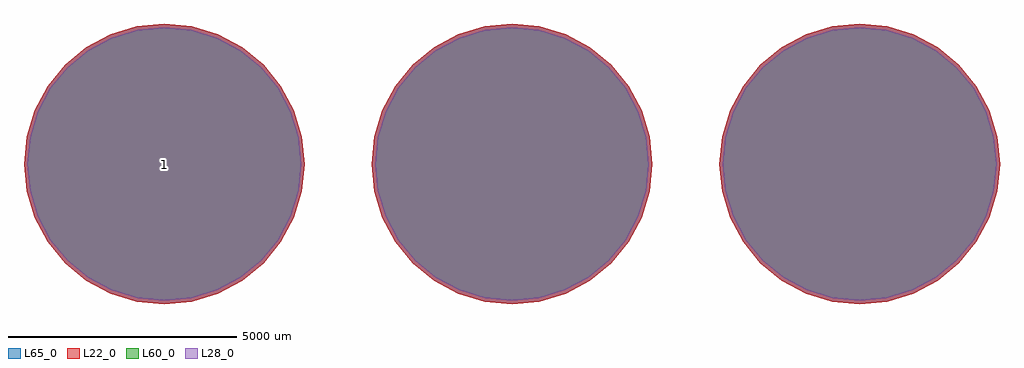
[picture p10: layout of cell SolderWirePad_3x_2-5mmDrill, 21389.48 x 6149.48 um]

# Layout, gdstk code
import gdstk
lib = gdstk.Library(unit=1e-6, precision=1e-09)
def P(c, l, *ps):  # polygons
    for p in ps: c.add(gdstk.Polygon(p, *l))
L22_0 = (22, 0)
L28_0 = (28, 0)
L60_0 = (60, 0)
L65_0 = (65, 0)

solderwirepad_3x_2_5mmdr = lib.new_cell('SolderWirePad_3x_2-5mmDrill')
P(solderwirepad_3x_2_5mmdr, L22_0, [(10694.74,0),(10635.66,599.852),(10460.689,1176.652),(10176.553,1708.234),(9794.17,2174.17),(9328.234,2556.553),(8796.652,2840.689),(8219.852,3015.66),(7620,3074.74),(7020.148,3015.66),(6443.348,2840.689),(5911.766,2556.553),(5445.83,2174.17),(5063.447,1708.234),(4779.311,1176.652),(4604.34,599.852),(4545.26,0),(4604.34,-599.852),(4779.311,-1176.652),(5063.447,-1708.234),(5445.83,-2174.17),(5911.766,-2556.553),(6443.348,-2840.689),(7020.148,-3015.66),(7620,-3074.74),(8219.852,-3015.66),(8796.652,-2840.689),(9328.234,-2556.553),(9794.17,-2174.17),(10176.553,-1708.234),(10460.689,-1176.652),(10635.66,-599.852)],
  [(3074.74,0),(3015.66,599.852),(2840.689,1176.652),(2556.553,1708.234),(2174.17,2174.17),(1708.234,2556.553),(1176.652,2840.689),(599.852,3015.66),(0,3074.74),(-599.852,3015.66),(-1176.652,2840.689),(-1708.234,2556.553),(-2174.17,2174.17),(-2556.553,1708.234),(-2840.689,1176.652),(-3015.66,599.852),(-3074.74,0),(-3015.66,-599.852),(-2840.689,-1176.652),(-2556.553,-1708.234),(-2174.17,-2174.17),(-1708.234,-2556.553),(-1176.652,-2840.689),(-599.852,-3015.66),(0,-3074.74),(599.852,-3015.66),(1176.652,-2840.689),(1708.234,-2556.553),(2174.17,-2174.17),(2556.553,-1708.234),(2840.689,-1176.652),(3015.66,-599.852)],
  [(-4545.26,0),(-4604.34,599.852),(-4779.311,1176.652),(-5063.447,1708.234),(-5445.83,2174.17),(-5911.766,2556.553),(-6443.348,2840.689),(-7020.148,3015.66),(-7620,3074.74),(-8219.852,3015.66),(-8796.652,2840.689),(-9328.234,2556.553),(-9794.17,2174.17),(-10176.553,1708.234),(-10460.689,1176.652),(-10635.66,599.852),(-10694.74,0),(-10635.66,-599.852),(-10460.689,-1176.652),(-10176.553,-1708.234),(-9794.17,-2174.17),(-9328.234,-2556.553),(-8796.652,-2840.689),(-8219.852,-3015.66),(-7620,-3074.74),(-7020.148,-3015.66),(-6443.348,-2840.689),(-5911.766,-2556.553),(-5445.83,-2174.17),(-5063.447,-1708.234),(-4779.311,-1176.652),(-4604.34,-599.852)])
P(solderwirepad_3x_2_5mmdr, L28_0, [(10619.74,0),(10562.101,585.22),(10391.398,1147.951),(10114.193,1666.566),(9741.136,2121.136),(9286.566,2494.193),(8767.951,2771.398),(8205.22,2942.101),(7620,2999.74),(7034.78,2942.101),(6472.049,2771.398),(5953.434,2494.193),(5498.864,2121.136),(5125.807,1666.566),(4848.602,1147.951),(4677.899,585.22),(4620.26,0),(4677.899,-585.22),(4848.602,-1147.951),(5125.807,-1666.566),(5498.864,-2121.136),(5953.434,-2494.193),(6472.049,-2771.398),(7034.78,-2942.101),(7620,-2999.74),(8205.22,-2942.101),(8767.951,-2771.398),(9286.566,-2494.193),(9741.136,-2121.136),(10114.193,-1666.566),(10391.398,-1147.951),(10562.101,-585.22)],
  [(2999.74,0),(2942.101,585.22),(2771.398,1147.951),(2494.193,1666.566),(2121.136,2121.136),(1666.566,2494.193),(1147.951,2771.398),(585.22,2942.101),(0,2999.74),(-585.22,2942.101),(-1147.951,2771.398),(-1666.566,2494.193),(-2121.136,2121.136),(-2494.193,1666.566),(-2771.398,1147.951),(-2942.101,585.22),(-2999.74,0),(-2942.101,-585.22),(-2771.398,-1147.951),(-2494.193,-1666.566),(-2121.136,-2121.136),(-1666.566,-2494.193),(-1147.951,-2771.398),(-585.22,-2942.101),(0,-2999.74),(585.22,-2942.101),(1147.951,-2771.398),(1666.566,-2494.193),(2121.136,-2121.136),(2494.193,-1666.566),(2771.398,-1147.951),(2942.101,-585.22)],
  [(-4620.26,0),(-4677.899,585.22),(-4848.602,1147.951),(-5125.807,1666.566),(-5498.864,2121.136),(-5953.434,2494.193),(-6472.049,2771.398),(-7034.78,2942.101),(-7620,2999.74),(-8205.22,2942.101),(-8767.951,2771.398),(-9286.566,2494.193),(-9741.136,2121.136),(-10114.193,1666.566),(-10391.398,1147.951),(-10562.101,585.22),(-10619.74,0),(-10562.101,-585.22),(-10391.398,-1147.951),(-10114.193,-1666.566),(-9741.136,-2121.136),(-9286.566,-2494.193),(-8767.951,-2771.398),(-8205.22,-2942.101),(-7620,-2999.74),(-7034.78,-2942.101),(-6472.049,-2771.398),(-5953.434,-2494.193),(-5498.864,-2121.136),(-5125.807,-1666.566),(-4848.602,-1147.951),(-4677.899,-585.22)])
P(solderwirepad_3x_2_5mmdr, L60_0, [(10619.74,0),(10562.101,585.22),(10391.398,1147.951),(10114.193,1666.566),(9741.136,2121.136),(9286.566,2494.193),(8767.951,2771.398),(8205.22,2942.101),(7620,2999.74),(7034.78,2942.101),(6472.049,2771.398),(5953.434,2494.193),(5498.864,2121.136),(5125.807,1666.566),(4848.602,1147.951),(4677.899,585.22),(4620.26,0),(4677.899,-585.22),(4848.602,-1147.951),(5125.807,-1666.566),(5498.864,-2121.136),(5953.434,-2494.193),(6472.049,-2771.398),(7034.78,-2942.101),(7620,-2999.74),(8205.22,-2942.101),(8767.951,-2771.398),(9286.566,-2494.193),(9741.136,-2121.136),(10114.193,-1666.566),(10391.398,-1147.951),(10562.101,-585.22)],
  [(2999.74,0),(2942.101,585.22),(2771.398,1147.951),(2494.193,1666.566),(2121.136,2121.136),(1666.566,2494.193),(1147.951,2771.398),(585.22,2942.101),(0,2999.74),(-585.22,2942.101),(-1147.951,2771.398),(-1666.566,2494.193),(-2121.136,2121.136),(-2494.193,1666.566),(-2771.398,1147.951),(-2942.101,585.22),(-2999.74,0),(-2942.101,-585.22),(-2771.398,-1147.951),(-2494.193,-1666.566),(-2121.136,-2121.136),(-1666.566,-2494.193),(-1147.951,-2771.398),(-585.22,-2942.101),(0,-2999.74),(585.22,-2942.101),(1147.951,-2771.398),(1666.566,-2494.193),(2121.136,-2121.136),(2494.193,-1666.566),(2771.398,-1147.951),(2942.101,-585.22)],
  [(-4620.26,0),(-4677.899,585.22),(-4848.602,1147.951),(-5125.807,1666.566),(-5498.864,2121.136),(-5953.434,2494.193),(-6472.049,2771.398),(-7034.78,2942.101),(-7620,2999.74),(-8205.22,2942.101),(-8767.951,2771.398),(-9286.566,2494.193),(-9741.136,2121.136),(-10114.193,1666.566),(-10391.398,1147.951),(-10562.101,585.22),(-10619.74,0),(-10562.101,-585.22),(-10391.398,-1147.951),(-10114.193,-1666.566),(-9741.136,-2121.136),(-9286.566,-2494.193),(-8767.951,-2771.398),(-8205.22,-2942.101),(-7620,-2999.74),(-7034.78,-2942.101),(-6472.049,-2771.398),(-5953.434,-2494.193),(-5498.864,-2121.136),(-5125.807,-1666.566),(-4848.602,-1147.951),(-4677.899,-585.22)])
P(solderwirepad_3x_2_5mmdr, L65_0, [(10694.74,0),(10635.66,599.852),(10460.689,1176.652),(10176.553,1708.234),(9794.17,2174.17),(9328.234,2556.553),(8796.652,2840.689),(8219.852,3015.66),(7620,3074.74),(7020.148,3015.66),(6443.348,2840.689),(5911.766,2556.553),(5445.83,2174.17),(5063.447,1708.234),(4779.311,1176.652),(4604.34,599.852),(4545.26,0),(4604.34,-599.852),(4779.311,-1176.652),(5063.447,-1708.234),(5445.83,-2174.17),(5911.766,-2556.553),(6443.348,-2840.689),(7020.148,-3015.66),(7620,-3074.74),(8219.852,-3015.66),(8796.652,-2840.689),(9328.234,-2556.553),(9794.17,-2174.17),(10176.553,-1708.234),(10460.689,-1176.652),(10635.66,-599.852)],
  [(3074.74,0),(3015.66,599.852),(2840.689,1176.652),(2556.553,1708.234),(2174.17,2174.17),(1708.234,2556.553),(1176.652,2840.689),(599.852,3015.66),(0,3074.74),(-599.852,3015.66),(-1176.652,2840.689),(-1708.234,2556.553),(-2174.17,2174.17),(-2556.553,1708.234),(-2840.689,1176.652),(-3015.66,599.852),(-3074.74,0),(-3015.66,-599.852),(-2840.689,-1176.652),(-2556.553,-1708.234),(-2174.17,-2174.17),(-1708.234,-2556.553),(-1176.652,-2840.689),(-599.852,-3015.66),(0,-3074.74),(599.852,-3015.66),(1176.652,-2840.689),(1708.234,-2556.553),(2174.17,-2174.17),(2556.553,-1708.234),(2840.689,-1176.652),(3015.66,-599.852)],
  [(-4545.26,0),(-4604.34,599.852),(-4779.311,1176.652),(-5063.447,1708.234),(-5445.83,2174.17),(-5911.766,2556.553),(-6443.348,2840.689),(-7020.148,3015.66),(-7620,3074.74),(-8219.852,3015.66),(-8796.652,2840.689),(-9328.234,2556.553),(-9794.17,2174.17),(-10176.553,1708.234),(-10460.689,1176.652),(-10635.66,599.852),(-10694.74,0),(-10635.66,-599.852),(-10460.689,-1176.652),(-10176.553,-1708.234),(-9794.17,-2174.17),(-9328.234,-2556.553),(-8796.652,-2840.689),(-8219.852,-3015.66),(-7620,-3074.74),(-7020.148,-3015.66),(-6443.348,-2840.689),(-5911.766,-2556.553),(-5445.83,-2174.17),(-5063.447,-1708.234),(-4779.311,-1176.652),(-4604.34,-599.852)])
solderwirepad_3x_2_5mmdr.add(gdstk.Label('1', (-7620,0), layer=28, texttype=0))
solderwirepad_3x_2_5mmdr.add(gdstk.Label('type', (635,-4445), layer=9, texttype=0))
solderwirepad_3x_2_5mmdr.add(gdstk.Label('devicename', (0,5080), layer=9, texttype=0))

lib.write_gds('SolderWirePad_3x_2-5mmDrill.gds')
